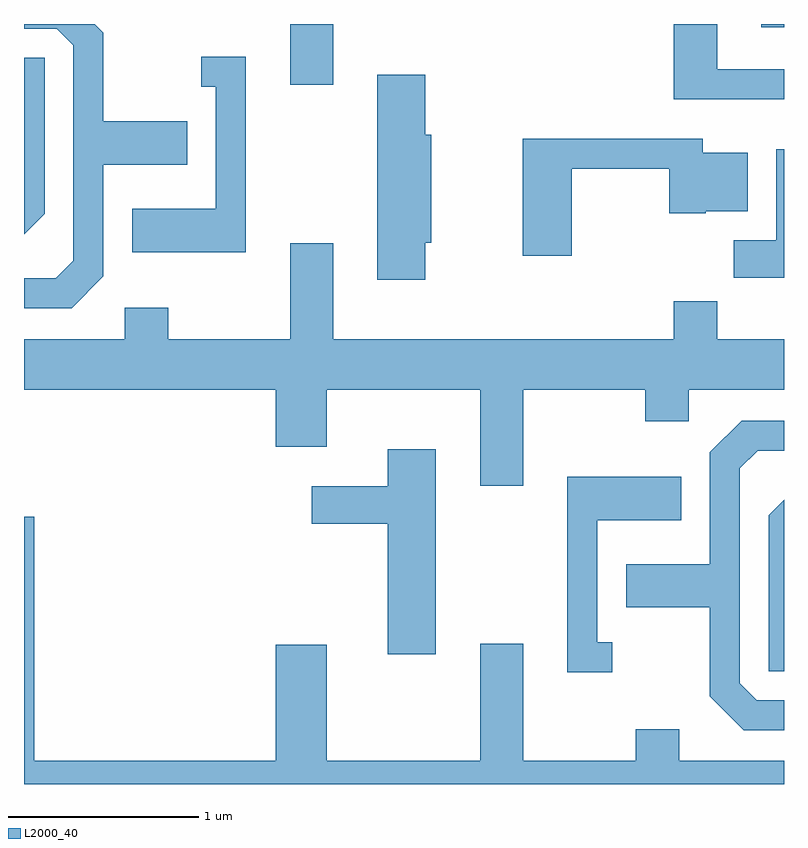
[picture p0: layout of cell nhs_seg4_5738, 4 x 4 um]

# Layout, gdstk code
import gdstk
lib = gdstk.Library(unit=1e-6, precision=1e-09)
def R(c, l, rs):  # rectangles x0, y0, x1, y1
    for r in rs: c.add(gdstk.rectangle(r[:2], r[2:], *l))
def P(c, l, *ps):  # polygons
    for p in ps: c.add(gdstk.Polygon(p, *l))
L2000_40 = (2000, 40)

nhs_seg4_5738 = lib.new_cell('nhs_seg4_5738')
R(nhs_seg4_5738, L2000_40, [(355.011,1309.661,355.239,1309.982), (357.491,1309.966,357.611,1309.982)])
P(nhs_seg4_5738, L2000_40, [(357.611,1309.744),(357.259,1309.744),(357.259,1309.982),(357.031,1309.982),(357.031,1309.586),(357.611,1309.586)],
  [(354.029,1308.654),(354.029,1309.241),(354.469,1309.241),(354.469,1309.469),(354.029,1309.469),(354.029,1309.937),(353.984,1309.982),(353.611,1309.982),(353.611,1309.956),(353.784,1309.956),(353.871,1309.869),(353.871,1308.737),(353.779,1308.644),(353.611,1308.644),(353.611,1308.486),(353.862,1308.486)],
  [(354.779,1309.809),(354.543,1309.809),(354.543,1309.651),(354.621,1309.651),(354.621,1309.009),(354.181,1309.009),(354.181,1308.781),(354.779,1308.781)],
  [(353.719,1308.984),(353.719,1309.804),(353.611,1309.804),(353.611,1308.875)],
  [(355.724,1308.831),(355.754,1308.831),(355.754,1309.399),(355.724,1309.399),(355.724,1309.714),(355.471,1309.714),(355.471,1308.636),(355.724,1308.636)],
  [(356.494,1309.221),(357.006,1309.221),(357.006,1308.986),(357.2,1308.986),(357.2,1308.996),(357.419,1308.996),(357.419,1309.304),(357.184,1309.304),(357.184,1309.379),(356.236,1309.379),(356.236,1308.761),(356.494,1308.761)],
  [(357.611,1309.324),(357.571,1309.324),(357.571,1308.844),(357.346,1308.844),(357.346,1308.646),(357.611,1308.646)],
  [(355.239,1308.829),(355.011,1308.829),(355.011,1308.324),(354.369,1308.324),(354.369,1308.489),(354.141,1308.489),(354.141,1308.324),(353.611,1308.324),(353.611,1308.056),(354.936,1308.056),(354.936,1307.756),(355.204,1307.756),(355.204,1308.056),(356.011,1308.056),(356.011,1307.551),(356.239,1307.551),(356.239,1308.056),(356.881,1308.056),(356.881,1307.891),(357.109,1307.891),(357.109,1308.056),(357.611,1308.056),(357.611,1308.324),(357.259,1308.324),(357.259,1308.524),(357.031,1308.524),(357.031,1308.324),(355.239,1308.324)],
  [(357.611,1306.424),(357.467,1306.424),(357.379,1306.512),(357.379,1307.644),(357.472,1307.736),(357.611,1307.736),(357.611,1307.894),(357.389,1307.894),(357.221,1307.727),(357.221,1307.139),(356.781,1307.139),(356.781,1306.911),(357.221,1306.911),(357.221,1306.444),(357.399,1306.266),(357.611,1306.266)],
  [(355.779,1307.744),(355.526,1307.744),(355.526,1307.549),(355.126,1307.549),(355.126,1307.351),(355.526,1307.351),(355.526,1306.666),(355.779,1306.666)],
  [(356.708,1306.729),(356.629,1306.729),(356.629,1307.371),(357.069,1307.371),(357.069,1307.599),(356.471,1307.599),(356.471,1306.571),(356.708,1306.571)],
  [(357.611,1307.477),(357.531,1307.397),(357.531,1306.576),(357.611,1306.576)],
  [(357.611,1306.104),(357.059,1306.104),(357.059,1306.269),(356.831,1306.269),(356.831,1306.104),(356.239,1306.104),(356.239,1306.719),(356.011,1306.719),(356.011,1306.104),(355.204,1306.104),(355.204,1306.714),(354.936,1306.714),(354.936,1306.104),(353.664,1306.104),(353.664,1307.389),(353.611,1307.389),(353.611,1305.982),(357.611,1305.982)])

lib.write_gds('nhs_seg4_5738.gds')
